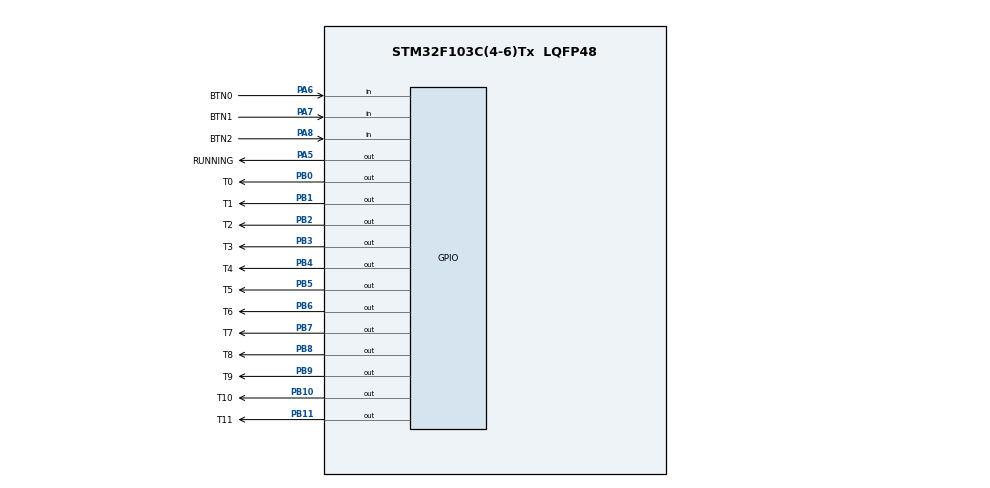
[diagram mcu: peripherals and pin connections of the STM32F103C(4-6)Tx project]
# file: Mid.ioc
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Mcu.Family=STM32F1
Mcu.Name=STM32F103C(4-6)Tx
Mcu.Package=LQFP48
NVIC.PriorityGroup=NVIC_PRIORITYGROUP_4
NVIC.TIM2_IRQn=true\:0\:0\:false\:false\:true\:true\:true
PA5.GPIO_Label=RUNNING
PA5.Signal=GPIO_Output
PA6.GPIO_Label=BTN0
PA6.Signal=GPIO_Input
PA7.GPIO_Label=BTN1
PA7.Signal=GPIO_Input
PA8.GPIO_Label=BTN2
PA8.Signal=GPIO_Input
PB0.GPIO_Label=T0
PB0.Signal=GPIO_Output
PB1.GPIO_Label=T1
PB1.Signal=GPIO_Output
PB10.GPIO_Label=T10
PB10.Signal=GPIO_Output
PB11.GPIO_Label=T11
PB11.Signal=GPIO_Output
PB2.GPIO_Label=T2
PB2.Signal=GPIO_Output
PB3.GPIO_Label=T3
PB3.Signal=GPIO_Output
PB4.GPIO_Label=T4
PB4.Signal=GPIO_Output
PB5.GPIO_Label=T5
PB5.Signal=GPIO_Output
PB6.GPIO_Label=T6
PB6.Signal=GPIO_Output
PB7.GPIO_Label=T7
PB7.Signal=GPIO_Output
PB8.GPIO_Label=T8
PB8.Signal=GPIO_Output
PB9.GPIO_Label=T9
PB9.Signal=GPIO_Output
PD0-OSC_IN.Mode=HSE-External-Oscillator
PD0-OSC_IN.Signal=RCC_OSC_IN
PD1-OSC_OUT.Mode=HSE-External-Oscillator
PD1-OSC_OUT.Signal=RCC_OSC_OUT
ProjectManager.HeapSize=0x200
ProjectManager.StackSize=0x400
ProjectManager.TargetToolchain=STM32CubeIDE
RCC.APB1Freq_Value=8000000
RCC.APB2Freq_Value=8000000
TIM2.Period=99
TIM2.Prescaler=799
VP_SYS_VS_ND.Mode=No_Debug
VP_TIM2_VS_ClockSourceINT.Mode=Internal
board=custom

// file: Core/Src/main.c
/* USER CODE BEGIN Header */
/**
  ******************************************************************************
  * @file           : main.c
  * @brief          : Main program body
  ******************************************************************************
  * @attention
  *
  * <h2><center>&copy; Copyright (c) 2021 STMicroelectronics.
  * All rights reserved.</center></h2>
  *
  * This software component is licensed by ST under BSD 3-Clause license,
  * the "License"; You may not use this file except in compliance with the
  * License. You may obtain a copy of the License at:
  *                        opensource.org/licenses/BSD-3-Clause
  *
  ******************************************************************************
  */
/* USER CODE END Header */
#include "main.h"

/* USER CODE BEGIN Includes */
#include "timer.h"
#include "button.h"
#include "clock_display.h"
#include "clock.h"
/* USER CODE END Includes */

TIM_HandleTypeDef htim2;

void SystemClock_Config(void);
static void MX_GPIO_Init(void);
static void MX_TIM2_Init(void);

int main(void)
{

  /* MCU Configuration--------------------------------------------------------*/

  /* Reset of all peripherals, Initializes the Flash interface and the Systick. */
  HAL_Init();

  /* Configure the system clock */
  SystemClock_Config();

  /* Initialize all configured peripherals */
  MX_GPIO_Init();
  MX_TIM2_Init();
  /* USER CODE BEGIN 2 */
  HAL_TIM_Base_Start_IT(&htim2);
  /* USER CODE END 2 */

  /* Infinite loop */
  /* USER CODE BEGIN WHILE */
  initTimer(1);
  initTimer(0);
  while (1)
  {
	  if (getTimerFlag(0) == 1) {
		  readButton();
		  clock_fsm();
		  setTimer(0, 10);
	  }

	  if (getTimerFlag(1) == 1) {
		  HAL_GPIO_TogglePin(GPIOA, RUNNING_Pin);
		  setTimer(1, 1000);
	  }
    /* USER CODE END WHILE */

  }
}

void SystemClock_Config(void)
{
  RCC_OscInitTypeDef RCC_OscInitStruct = {0};
  RCC_ClkInitTypeDef RCC_ClkInitStruct = {0};

  /** Initializes the RCC Oscillators according to the specified parameters
  * in the RCC_OscInitTypeDef structure.
  */
  RCC_OscInitStruct.OscillatorType = RCC_OSCILLATORTYPE_HSI;
  RCC_OscInitStruct.HSIState = RCC_HSI_ON;
  RCC_OscInitStruct.HSICalibrationValue = RCC_HSICALIBRATION_DEFAULT;
  RCC_OscInitStruct.PLL.PLLState = RCC_PLL_NONE;
  if (HAL_RCC_OscConfig(&RCC_OscInitStruct) != HAL_OK)
  {
    Error_Handler();
  }
  /** Initializes the CPU, AHB and APB buses clocks
  */
  RCC_ClkInitStruct.ClockType = RCC_CLOCKTYPE_HCLK|RCC_CLOCKTYPE_SYSCLK
                              |RCC_CLOCKTYPE_PCLK1|RCC_CLOCKTYPE_PCLK2;
  RCC_ClkInitStruct.SYSCLKSource = RCC_SYSCLKSOURCE_HSI;
  RCC_ClkInitStruct.AHBCLKDivider = RCC_SYSCLK_DIV1;
  RCC_ClkInitStruct.APB1CLKDivider = RCC_HCLK_DIV1;
  RCC_ClkInitStruct.APB2CLKDivider = RCC_HCLK_DIV1;

  if (HAL_RCC_ClockConfig(&RCC_ClkInitStruct, FLASH_LATENCY_0) != HAL_OK)
  {
    Error_Handler();
  }
}

static void MX_TIM2_Init(void)
{

  TIM_ClockConfigTypeDef sClockSourceConfig = {0};
  TIM_MasterConfigTypeDef sMasterConfig = {0};

  htim2.Instance = TIM2;
  htim2.Init.Prescaler = 799;
  htim2.Init.CounterMode = TIM_COUNTERMODE_UP;
  htim2.Init.Period = 99;
  htim2.Init.ClockDivision = TIM_CLOCKDIVISION_DIV1;
  htim2.Init.AutoReloadPreload = TIM_AUTORELOAD_PRELOAD_DISABLE;
  if (HAL_TIM_Base_Init(&htim2) != HAL_OK)
  {
    Error_Handler();
  }
  sClockSourceConfig.ClockSource = TIM_CLOCKSOURCE_INTERNAL;
  if (HAL_TIM_ConfigClockSource(&htim2, &sClockSourceConfig) != HAL_OK)
  {
    Error_Handler();
  }
  sMasterConfig.MasterOutputTrigger = TIM_TRGO_RESET;
  sMasterConfig.MasterSlaveMode = TIM_MASTERSLAVEMODE_DISABLE;
  if (HAL_TIMEx_MasterConfigSynchronization(&htim2, &sMasterConfig) != HAL_OK)
  {
    Error_Handler();
  }

}

static void MX_GPIO_Init(void)
{
  GPIO_InitTypeDef GPIO_InitStruct = {0};

  /* GPIO Ports Clock Enable */
  __HAL_RCC_GPIOD_CLK_ENABLE();
  __HAL_RCC_GPIOA_CLK_ENABLE();
  __HAL_RCC_GPIOB_CLK_ENABLE();

  /*Configure GPIO pin Output Level */
  HAL_GPIO_WritePin(RUNNING_GPIO_Port, RUNNING_Pin, GPIO_PIN_RESET);

  /*Configure GPIO pin Output Level */
  HAL_GPIO_WritePin(GPIOB, T0_Pin|T1_Pin|T2_Pin|T10_Pin
                          |T11_Pin|T3_Pin|T4_Pin|T5_Pin
                          |T6_Pin|T7_Pin|T8_Pin|T9_Pin, GPIO_PIN_RESET);

  /*Configure GPIO pin : RUNNING_Pin */
  GPIO_InitStruct.Pin = RUNNING_Pin;
  GPIO_InitStruct.Mode = GPIO_MODE_OUTPUT_PP;
  GPIO_InitStruct.Pull = GPIO_NOPULL;
  GPIO_InitStruct.Speed = GPIO_SPEED_FREQ_LOW;
  HAL_GPIO_Init(RUNNING_GPIO_Port, &GPIO_InitStruct);

  /*Configure GPIO pins : BTN0_Pin BTN1_Pin BTN2_Pin */
  GPIO_InitStruct.Pin = BTN0_Pin|BTN1_Pin|BTN2_Pin;
  GPIO_InitStruct.Mode = GPIO_MODE_INPUT;
  GPIO_InitStruct.Pull = GPIO_NOPULL;
  HAL_GPIO_Init(GPIOA, &GPIO_InitStruct);

  /*Configure GPIO pins : T0_Pin T1_Pin T2_Pin T10_Pin
                           T11_Pin T3_Pin T4_Pin T5_Pin
                           T6_Pin T7_Pin T8_Pin T9_Pin */
  GPIO_InitStruct.Pin = T0_Pin|T1_Pin|T2_Pin|T10_Pin
                          |T11_Pin|T3_Pin|T4_Pin|T5_Pin
                          |T6_Pin|T7_Pin|T8_Pin|T9_Pin;
  GPIO_InitStruct.Mode = GPIO_MODE_OUTPUT_PP;
  GPIO_InitStruct.Pull = GPIO_NOPULL;
  GPIO_InitStruct.Speed = GPIO_SPEED_FREQ_LOW;
  HAL_GPIO_Init(GPIOB, &GPIO_InitStruct);

}

/* USER CODE BEGIN 4 */

void HAL_TIM_PeriodElapsedCallback(TIM_HandleTypeDef *htim) {
	if(htim->Instance == TIM2) {
		timer_run(0);
		timer_run(1);
	}
}

/* USER CODE END 4 */

void Error_Handler(void)
{
  __disable_irq();
  while (1)
  {
  }
}

/************************ (C) COPYRIGHT STMicroelectronics *****END OF FILE****/
